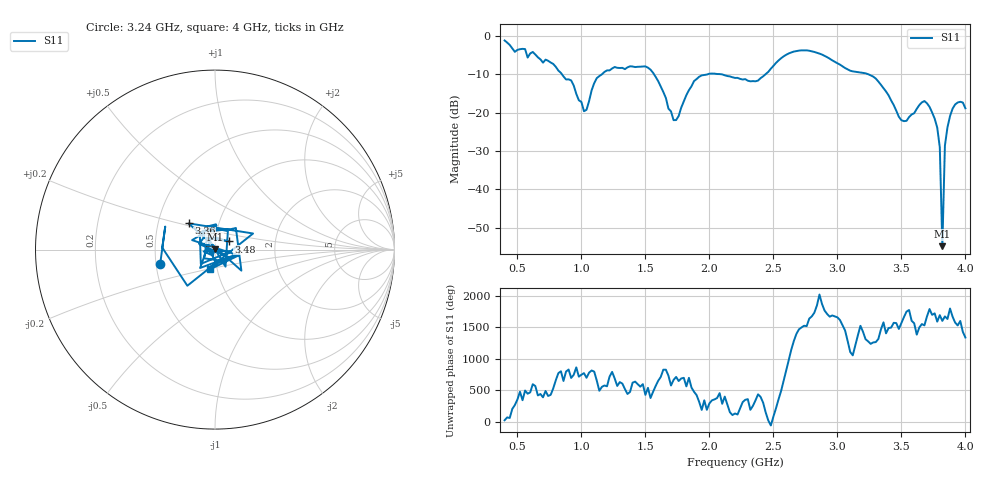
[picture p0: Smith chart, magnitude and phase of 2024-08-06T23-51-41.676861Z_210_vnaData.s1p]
!Created with skrf (http://scikit-rf.org).
# Hz S RI R 50.0
!freq ReS11 ImS11
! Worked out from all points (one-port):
!   181 points, 400 MHz to 4 GHz, reference 50 ohm
!   lowest |S11| = -54.9 dB at 3.82 GHz (marker M1), VSWR 1.00, Z = 49.8 + j0.0652 ohm
!   |S11| at or under -10 dB: 1.567 GHz to 1.989 GHz (421.6 MHz wide, 23.7 % of centre); 2.087 GHz to 2.439 GHz (352 MHz wide, 15.6 % of centre); 3.24 GHz to end of sweep (the widest 3 of 4)
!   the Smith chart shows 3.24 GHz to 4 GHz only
!   S11 on the Smith chart (normalised r, x): 3.24 GHz: 0.53, -0.09; 3.36 GHz: 0.71, +0.22; 3.48 GHz: 1.16, +0.11; 4 GHz: 0.92, -0.21
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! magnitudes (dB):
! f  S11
! 400 MHz  -1.2
! 740 MHz  -6.5
! 860 MHz  -10.6
! 920 MHz  -11.6
! 1.02 GHz  -19.7
! 1.12 GHz  -11.0
! 1.3 GHz  -8.4
! 1.54 GHz  -8.8
! 1.72 GHz  -22.0
! 1.76 GHz  -20.9
! 1.92 GHz  -10.7
! 2.2 GHz  -11.0
! 2.38 GHz  -11.7
! 2.66 GHz  -4.1
! 2.86 GHz  -4.6
! 3.1 GHz  -9.1
! 3.24 GHz  -10.0
! 3.36 GHz  -13.7
! 3.48 GHz  -21.1
! 3.56 GHz  -21.2
! 3.68 GHz  -17.0
! 3.78 GHz  -23.9
! 3.8 GHz  -29.1
! 3.82 GHz  -54.9
! 3.84 GHz  -28.6
! 3.86 GHz  -23.9
! 3.92 GHz  -17.9
! 4 GHz  -18.9
